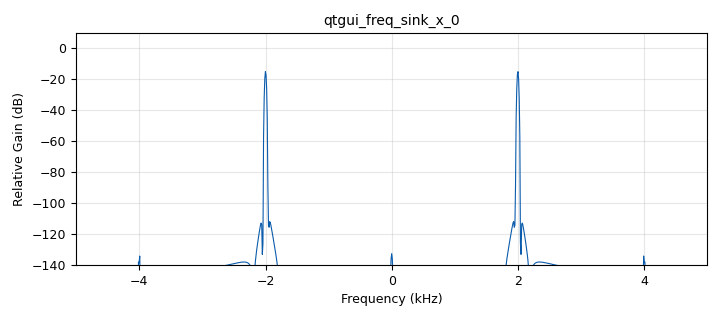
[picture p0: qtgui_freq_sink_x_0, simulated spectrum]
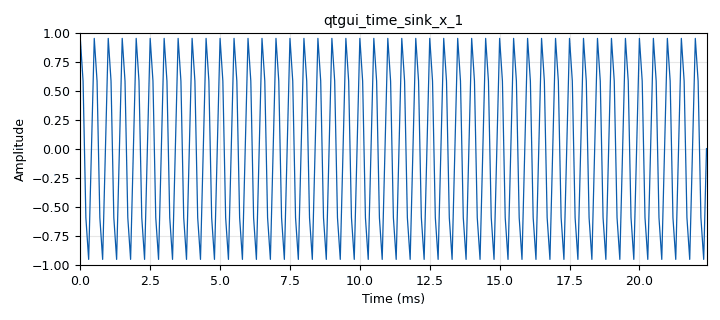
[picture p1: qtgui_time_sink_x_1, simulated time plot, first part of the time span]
<?xml version='1.0' encoding='utf-8'?>
<?grc format='1' created='3.7.13'?>
<flow_graph>
<block>
<key>options</key>
<param><key>id</key><value>ECE531_Lab1a</value></param>
<param><key>generate_options</key><value>qt_gui</value></param>
</block>
<block>
<key>variable</key>
<param><key>id</key><value>freq</value></param>
<param><key>value</key><value>2000</value></param>
</block>
<block>
<key>variable_qtgui_range</key>
<param><key>id</key><value>sample_rate</value></param>
<param><key>value</key><value>10000</value></param>
<param><key>min_len</key><value>1000</value></param>
<param><key>orient</key><value>Qt.Horizontal</value></param>
<param><key>start</key><value>1000</value></param>
<param><key>step</key><value>1000</value></param>
<param><key>stop</key><value>40000</value></param>
<param><key>widget</key><value>slider</value></param>
</block>
<block>
<key>analog_sig_source_x</key>
<param><key>id</key><value>analog_sig_source_x_0</value></param>
<param><key>amp</key><value>1</value></param>
<param><key>freq</key><value>2000</value></param>
<param><key>offset</key><value>0</value></param>
<param><key>type</key><value>float</value></param>
<param><key>samp_rate</key><value>sample_rate</value></param>
<param><key>waveform</key><value>analog.GR_SIN_WAVE</value></param>
</block>
<block>
<key>blocks_throttle</key>
<param><key>id</key><value>blocks_throttle_0</value></param>
<param><key>samples_per_second</key><value>freq</value></param>
<param><key>type</key><value>float</value></param>
</block>
<block>
<key>qtgui_freq_sink_x</key>
<param><key>id</key><value>qtgui_freq_sink_x_0</value></param>
<param><key>bw</key><value>sample_rate</value></param>
<param><key>fc</key><value>0</value></param>
<param><key>fftsize</key><value>1024</value></param>
<param><key>showports</key><value>True</value></param>
<param><key>type</key><value>float</value></param>
<param><key>wintype</key><value>firdes.WIN_BLACKMAN_hARRIS</value></param>
</block>
<block>
<key>qtgui_tab_widget</key>
<param><key>id</key><value>qtgui_tab_widget_0</value></param>
<param><key>label0</key><value>Time</value></param>
<param><key>label1</key><value>Frequency</value></param>
<param><key>num_tabs</key><value>2</value></param>
</block>
<block>
<key>qtgui_time_sink_x</key>
<param><key>id</key><value>qtgui_time_sink_x_0</value></param>
<param><key>_enabled</key><value>0</value></param>
<param><key>color1</key><value>"blue"</value></param>
<param><key>label1</key><value></value></param>
<param><key>size</key><value>1024</value></param>
<param><key>srate</key><value>10000</value></param>
<param><key>type</key><value>float</value></param>
</block>
<block>
<key>qtgui_time_sink_x</key>
<param><key>id</key><value>qtgui_time_sink_x_1</value></param>
<param><key>color1</key><value>"blue"</value></param>
<param><key>label1</key><value></value></param>
<param><key>size</key><value>1024</value></param>
<param><key>srate</key><value>sample_rate</value></param>
<param><key>type</key><value>float</value></param>
</block>
<connection><source_block_id>analog_sig_source_x_0</source_block_id><sink_block_id>blocks_throttle_0</sink_block_id><source_key>0</source_key><sink_key>0</sink_key></connection>
<connection><source_block_id>blocks_throttle_0</source_block_id><sink_block_id>qtgui_freq_sink_x_0</sink_block_id><source_key>0</source_key><sink_key>0</sink_key></connection>
<connection><source_block_id>blocks_throttle_0</source_block_id><sink_block_id>qtgui_time_sink_x_0</sink_block_id><source_key>0</source_key><sink_key>0</sink_key></connection>
<connection><source_block_id>blocks_throttle_0</source_block_id><sink_block_id>qtgui_time_sink_x_1</sink_block_id><source_key>0</source_key><sink_key>0</sink_key></connection>
</flow_graph>
